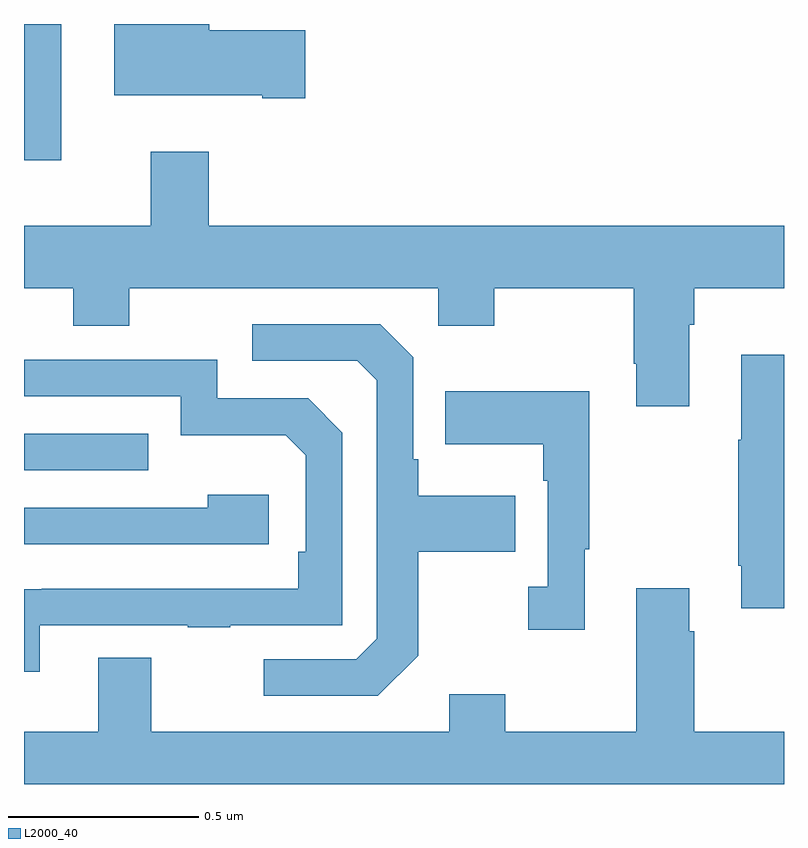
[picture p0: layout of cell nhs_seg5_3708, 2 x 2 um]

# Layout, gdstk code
import gdstk
lib = gdstk.Library(unit=1e-6, precision=1e-09)
def R(c, l, rs):  # rectangles x0, y0, x1, y1
    for r in rs: c.add(gdstk.rectangle(r[:2], r[2:], *l))
def P(c, l, *ps):  # polygons
    for p in ps: c.add(gdstk.Polygon(p, *l))
L2000_40 = (2000, 40)

nhs_seg5_3708 = lib.new_cell('nhs_seg5_3708')
R(nhs_seg5_3708, L2000_40, [(161,845.625,161.327,845.721), (161,846.44,161.098,846.799)])
P(nhs_seg5_3708, L2000_40, [(161.74,846.782),(161.488,846.782),(161.488,846.799),(161.237,846.799),(161.237,846.611),(161.627,846.611),(161.627,846.604),(161.74,846.604)],
  [(162.751,846.008),(162.764,846.008),(162.764,846.104),(163,846.104),(163,846.268),(161.486,846.268),(161.486,846.463),(161.333,846.463),(161.333,846.268),(161,846.268),(161,846.104),(161.129,846.104),(161.129,846.005),(161.277,846.005),(161.277,846.104),(162.09,846.104),(162.09,846.005),(162.237,846.005),(162.237,846.104),(162.604,846.104),(162.604,845.905),(162.611,845.905),(162.611,845.793),(162.751,845.793)],
  [(162.037,845.137),(162.037,845.41),(162.293,845.41),(162.293,845.557),(162.037,845.557),(162.037,845.653),(162.024,845.653),(162.024,845.922),(161.937,846.009),(161.601,846.009),(161.601,845.913),(161.877,845.913),(161.928,845.862),(161.928,845.181),(161.874,845.127),(161.631,845.127),(161.631,845.031),(161.931,845.031)],
  [(163,845.929),(162.887,845.929),(162.887,845.705),(162.88,845.705),(162.88,845.374),(162.887,845.374),(162.887,845.262),(163,845.262)],
  [(161.041,845.217),(161.431,845.217),(161.431,845.212),(161.543,845.212),(161.543,845.217),(161.838,845.217),(161.838,845.724),(161.748,845.814),(161.508,845.814),(161.508,845.916),(161,845.916),(161,845.82),(161.412,845.82),(161.412,845.717),(161.689,845.717),(161.742,845.664),(161.742,845.41),(161.722,845.41),(161.722,845.313),(161.047,845.313),(161.047,845.312),(161,845.312),(161,845.094),(161.041,845.094)],
  [(162.475,845.417),(162.487,845.417),(162.487,845.833),(162.109,845.833),(162.109,845.693),(162.366,845.693),(162.366,845.597),(162.378,845.597),(162.378,845.318),(162.327,845.318),(162.327,845.205),(162.475,845.205)],
  [(161.644,845.56),(161.483,845.56),(161.483,845.526),(161,845.526),(161,845.43),(161.644,845.43)],
  [(163,844.936),(162.764,844.936),(162.764,845.201),(162.751,845.201),(162.751,845.314),(162.611,845.314),(162.611,844.936),(162.267,844.936),(162.267,845.035),(162.119,845.035),(162.119,844.936),(161.335,844.936),(161.335,845.131),(161.195,845.131),(161.195,844.936),(161,844.936),(161,844.799),(163,844.799)])

lib.write_gds('nhs_seg5_3708.gds')
